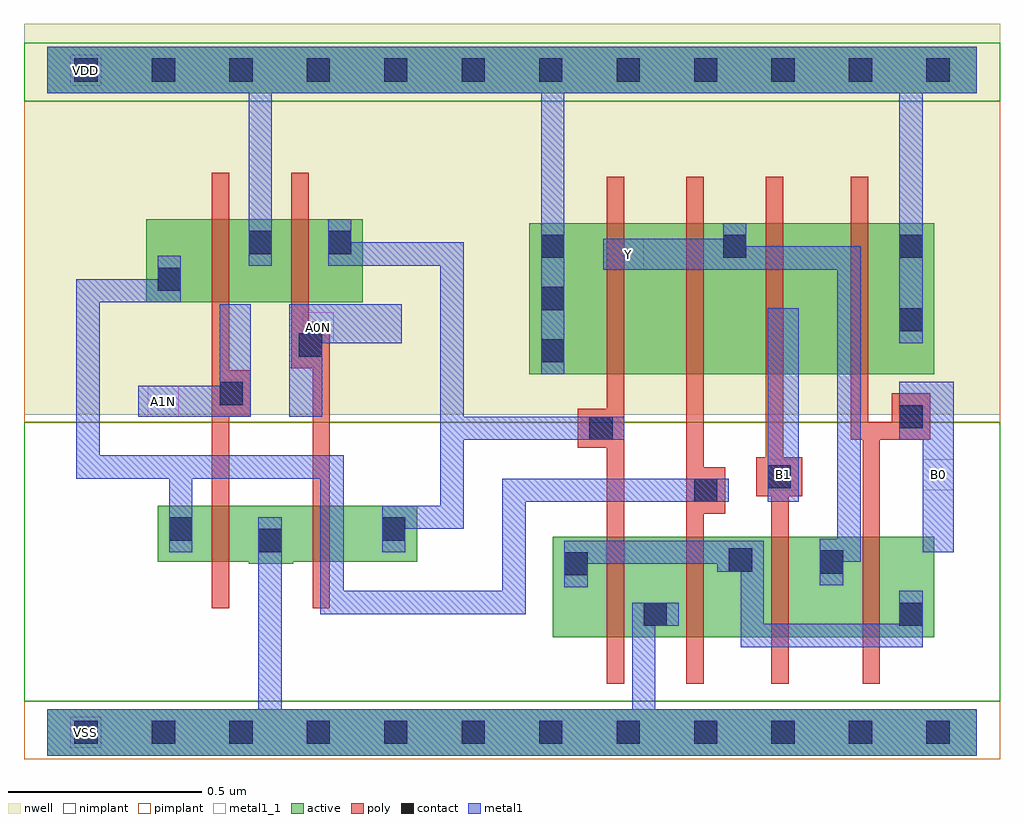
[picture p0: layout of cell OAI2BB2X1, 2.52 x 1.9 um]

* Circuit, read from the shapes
.subckt OAI2BB2X1 A0N A1N B0 B1 VDD VSS Y
M1 VSS A1N n1 VSS nfet w=0.145u l=0.045u
M2 n2 A0N VSS VSS nfet w=0.145u l=0.045u
M3 VSS n2 n3 VSS nfet w=0.26u l=0.045u
M4 n3 n1 VSS VSS nfet w=0.26u l=0.045u
M5 Y B1 n3 VSS nfet w=0.26u l=0.045u
M6 n3 B0 Y VSS nfet w=0.26u l=0.045u
M7 VDD A1N n1 VDD pfet w=0.215u l=0.045u
M8 n2 A0N VDD VDD pfet w=0.215u l=0.045u
M9 n4 n2 VDD VDD pfet w=0.39u l=0.045u
M10 Y n1 n4 VDD pfet w=0.39u l=0.045u
M11 n5 B1 Y VDD pfet w=0.39u l=0.045u
M12 VDD B0 n5 VDD pfet w=0.39u l=0.045u
.ends

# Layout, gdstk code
import gdstk
lib = gdstk.Library(unit=1e-6, precision=5e-10)
def R(c, l, rs):  # rectangles x0, y0, x1, y1
    for r in rs: c.add(gdstk.rectangle(r[:2], r[2:], *l))
def A(c, l, x, y, w, h, nx, ny, dx, dy):  # array of equal rectangles
    R(c, l, [(x+i*dx, y+j*dy, x+i*dx+w, y+j*dy+h) for i in range(nx) for j in range(ny)])
def P(c, l, *ps):  # polygons
    for p in ps: c.add(gdstk.Polygon(p, *l))
active = (1, 0)
nwell = (2, 0)
poly = (3, 0)
nimplant = (4, 0)
pimplant = (5, 0)
contact = (6, 0)
metal1 = (7, 0)
metal1_1 = (7, 1)

oai2bb2x1 = lib.new_cell('OAI2BB2X1')
R(oai2bb2x1, active, [(0,-0.06,2.4,0.06), (1.305,0.245,2.29,0.505), (1.245,0.925,2.29,1.315), (0.255,1.11,0.815,1.325), (0,1.65,2.4,1.77)])
P(oai2bb2x1, active, [(0.285,0.585),(0.955,0.585),(0.955,0.44),(0.635,0.44),(0.635,0.435),(0.52,0.435),(0.52,0.44),(0.285,0.44)])
R(oai2bb2x1, nwell, [(-0.06,0.82,2.46,1.83)])
P(oai2bb2x1, poly, [(0.425,1.445),(0.47,1.445),(0.47,0.935),(0.525,0.935),(0.525,0.815),(0.47,0.815),(0.47,0.32),(0.425,0.32)],
  [(0.63,1.445),(0.675,1.445),(0.675,1.06),(0.73,1.06),(0.73,0.32),(0.685,0.32),(0.685,0.94),(0.63,0.94)],
  [(1.445,1.435),(1.49,1.435),(1.49,0.125),(1.445,0.125),(1.445,0.735),(1.37,0.735),(1.37,0.835),(1.445,0.835)],
  [(1.65,1.435),(1.695,1.435),(1.695,0.685),(1.75,0.685),(1.75,0.565),(1.695,0.565),(1.695,0.125),(1.65,0.125)],
  [(1.855,1.435),(1.9,1.435),(1.9,0.71),(1.95,0.71),(1.95,0.61),(1.915,0.61),(1.915,0.125),(1.87,0.125),(1.87,0.61),(1.83,0.61),(1.83,0.71),(1.855,0.71)],
  [(2.075,1.435),(2.12,1.435),(2.12,0.8),(2.18,0.8),(2.18,0.875),(2.28,0.875),(2.28,0.755),(2.15,0.755),(2.15,0.125),(2.105,0.125),(2.105,0.755),(2.075,0.755)])
R(oai2bb2x1, nimplant, [(-0.06,0.08,2.46,0.8), (-0.06,1.63,2.46,1.78)])
R(oai2bb2x1, pimplant, [(-0.06,-0.07,2.46,0.08), (-0.06,0.8,2.46,1.63)])
A(oai2bb2x1, contact, 0.07, -0.03, 0.06, 0.06, 12, 2, 0.2, 1.71)
A(oai2bb2x1, contact, 1.275, 0.955, 0.06, 0.06, 1, 3, 0, 0.135)
R(oai2bb2x1, contact, [(1.54,0.275,1.6,0.335), (2.2,0.275,2.26,0.335), (1.335,0.405,1.395,0.465), (1.995,0.41,2.055,0.47), (1.76,0.415,1.82,0.475), (0.545,0.465,0.605,0.525), (0.315,0.495,0.375,0.555), (0.865,0.495,0.925,0.555), (1.67,0.595,1.73,0.655), (1.86,0.63,1.92,0.69), (1.4,0.755,1.46,0.815), (2.2,0.785,2.26,0.845), (0.445,0.845,0.505,0.905), (0.65,0.97,0.71,1.03), (2.2,1.035,2.26,1.095), (0.285,1.14,0.345,1.2), (1.745,1.225,1.805,1.285), (2.2,1.225,2.26,1.285), (0.52,1.235,0.58,1.295), (0.725,1.235,0.785,1.295)])
R(oai2bb2x1, metal1, [(1.86,0.595,1.94,1.095)])
P(oai2bb2x1, metal1, [(0,1.77),(2.4,1.77),(2.4,1.65),(2.26,1.65),(2.26,1.005),(2.2,1.005),(2.2,1.65),(1.335,1.65),(1.335,0.925),(1.275,0.925),(1.275,1.65),(0.58,1.65),(0.58,1.205),(0.52,1.205),(0.52,1.65),(0,1.65)],
  [(0.285,1.23),(0.345,1.23),(0.345,1.11),(0.135,1.11),(0.135,0.715),(0.765,0.715),(0.765,0.365),(1.175,0.365),(1.175,0.655),(1.76,0.655),(1.76,0.595),(1.235,0.595),(1.235,0.305),(0.705,0.305),(0.705,0.655),(0.375,0.655),(0.375,0.465),(0.315,0.465),(0.315,0.655),(0.075,0.655),(0.075,1.17),(0.285,1.17)],
  [(0.725,1.325),(0.785,1.325),(0.785,1.265),(1.075,1.265),(1.075,0.815),(1.49,0.815),(1.49,0.755),(1.075,0.755),(1.075,0.525),(0.925,0.525),(0.925,0.465),(0.865,0.465),(0.865,0.585),(1.015,0.585),(1.015,1.205),(0.725,1.205)],
  [(0.625,1.105),(0.915,1.105),(0.915,1.005),(0.71,1.005),(0.71,0.815),(0.625,0.815)],
  [(0.445,1.105),(0.525,1.105),(0.525,0.815),(0.235,0.815),(0.235,0.895),(0.445,0.895)],
  [(1.745,1.315),(1.805,1.315),(1.805,1.255),(2.1,1.255),(2.1,0.44),(2.055,0.44),(2.055,0.38),(1.995,0.38),(1.995,0.5),(2.04,0.5),(2.04,1.195),(1.435,1.195),(1.435,1.275),(1.745,1.275)],
  [(0.545,0.555),(0.605,0.555),(0.605,0.06),(1.51,0.06),(1.51,0.335),(1.63,0.335),(1.63,0.275),(1.57,0.275),(1.57,0.06),(2.4,0.06),(2.4,-0.06),(0,-0.06),(0,0.06),(0.545,0.06)],
  [(2.2,0.905),(2.34,0.905),(2.34,0.465),(2.26,0.465),(2.26,0.755),(2.2,0.755)],
  [(1.335,0.495),(1.85,0.495),(1.85,0.28),(2.2,0.28),(2.2,0.365),(2.26,0.365),(2.26,0.22),(1.79,0.22),(1.79,0.415),(1.73,0.415),(1.73,0.435),(1.395,0.435),(1.395,0.375),(1.335,0.375)])
R(oai2bb2x1, metal1_1, [(0.06,-0.04,0.14,0.04), (1.86,0.625,1.94,0.705), (2.26,0.625,2.34,0.705), (0.26,0.815,0.34,0.895), (0.66,1.005,0.74,1.085), (1.46,1.195,1.54,1.275), (0.06,1.67,0.14,1.75)])
oai2bb2x1.add(gdstk.Label('Y', (1.5,1.235), layer=7, texttype=1))
oai2bb2x1.add(gdstk.Label('B0', (2.3,0.665), layer=7, texttype=1))
oai2bb2x1.add(gdstk.Label('B1', (1.9,0.665), layer=7, texttype=1))
oai2bb2x1.add(gdstk.Label('A0N', (0.7,1.045), layer=7, texttype=1))
oai2bb2x1.add(gdstk.Label('A1N', (0.3,0.855), layer=7, texttype=1))
oai2bb2x1.add(gdstk.Label('VDD', (0.1,1.71), layer=7, texttype=1))
oai2bb2x1.add(gdstk.Label('VSS', (0.1,0), layer=7, texttype=1))
oai2bb2x1.add(gdstk.Label('OAI2BB2X1', (0,0), layer=63, texttype=0))

lib.write_gds('OAI2BB2X1.gds')
